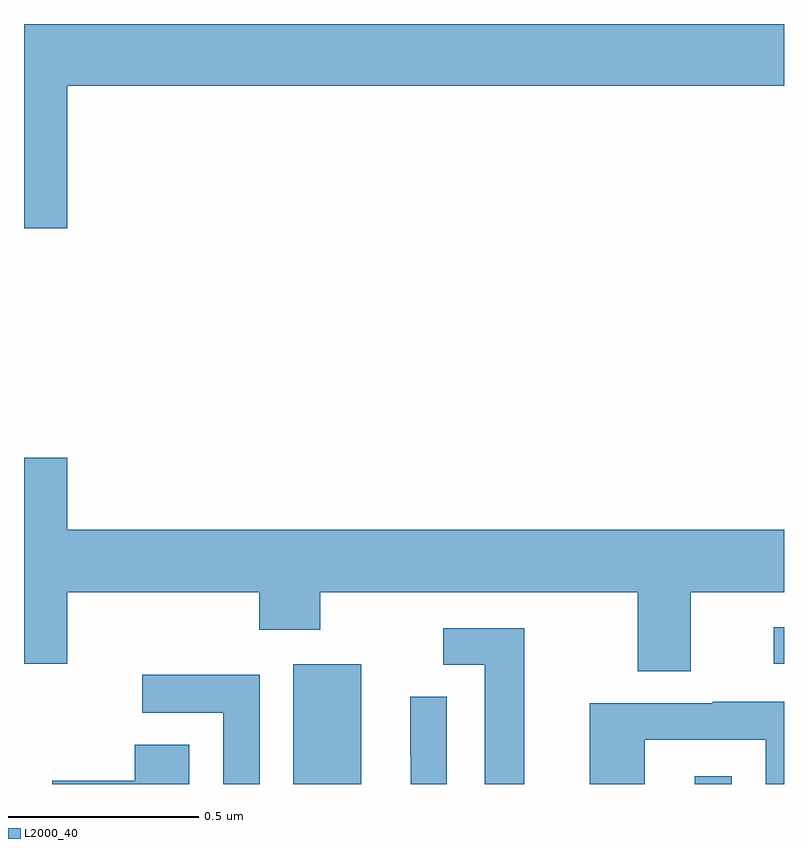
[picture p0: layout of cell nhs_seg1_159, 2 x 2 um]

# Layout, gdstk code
import gdstk
lib = gdstk.Library(unit=1e-6, precision=1e-09)
def R(c, l, rs):  # rectangles x0, y0, x1, y1
    for r in rs: c.add(gdstk.rectangle(r[:2], r[2:], *l))
def P(c, l, *ps):  # polygons
    for p in ps: c.add(gdstk.Polygon(p, *l))
L2000_40 = (2000, 40)

nhs_seg1_159 = lib.new_cell('nhs_seg1_159')
R(nhs_seg1_159, L2000_40, [(112.709,579.199,112.888,579.514), (113.765,579.199,113.862,579.22), (113.973,579.516,114,579.612)])
P(nhs_seg1_159, L2000_40, [(112.114,581.036),(114,581.036),(114,581.199),(112,581.199),(112,580.662),(112.114,580.662)],
  [(113.755,579.704),(114,579.704),(114,579.868),(112.114,579.868),(112.114,580.057),(112,580.057),(112,579.516),(112.114,579.516),(112.114,579.704),(112.619,579.704),(112.619,579.605),(112.779,579.605),(112.779,579.704),(113.615,579.704),(113.615,579.496),(113.755,579.496)],
  [(113.317,579.609),(113.103,579.609),(113.103,579.513),(113.213,579.513),(113.213,579.199),(113.317,579.199)],
  [(112.62,579.486),(112.311,579.486),(112.311,579.387),(112.524,579.387),(112.524,579.199),(112.62,579.199)],
  [(113.112,579.428),(113.016,579.428),(113.016,579.274),(113.018,579.274),(113.018,579.199),(113.112,579.199)],
  [(113.634,579.315),(113.952,579.315),(113.952,579.199),(114,579.199),(114,579.415),(113.813,579.415),(113.813,579.411),(113.489,579.411),(113.489,579.199),(113.634,579.199)],
  [(112.435,579.302),(112.292,579.302),(112.292,579.207),(112.074,579.207),(112.074,579.199),(112.435,579.199)])

lib.write_gds('nhs_seg1_159.gds')
